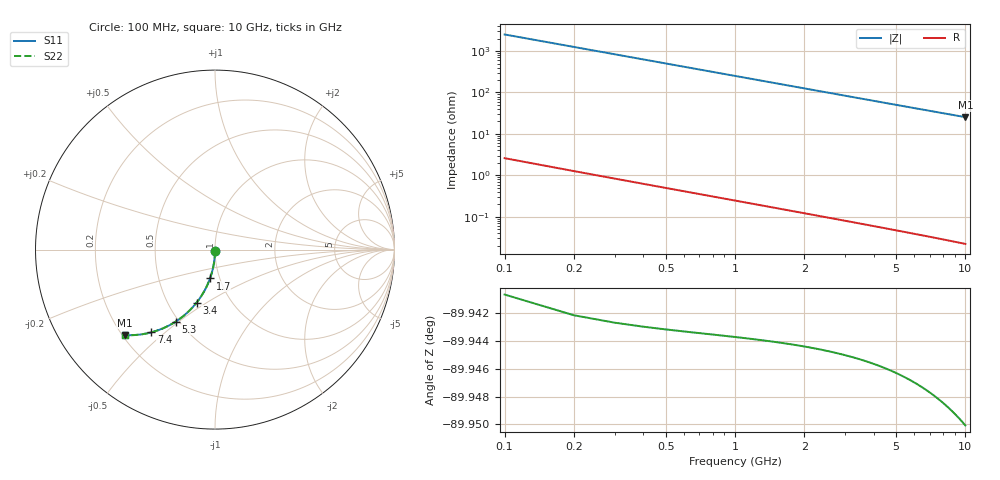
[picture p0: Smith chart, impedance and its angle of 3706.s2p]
# Hz S RI R 50.00
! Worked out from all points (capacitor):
!   100 points, 100 MHz to 10 GHz, reference 50 ohm
!   read as one part in shunt: C = 634 fF near 100 MHz
!   lowest |Z| = 25.4 ohm at 10 GHz (marker M1)
!   S11 on the Smith chart (normalised r, x): 100 MHz: 1.00, -0.02; 1.7 GHz: 0.90, -0.30; 3.4 GHz: 0.69, -0.45; 5.3 GHz: 0.48, -0.49; 7.4 GHz: 0.32, -0.45; 10 GHz: 0.21, -0.38
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1e8  1.73e-05 -0.00972  0.9998 -0.0102  0.9998 -0.0102  1.73e-05 -0.00972
2e8  -0.000288 -0.0194  0.9995 -0.0204  0.9995 -0.0204  -0.000288 -0.0194
3e8  -0.000792 -0.0291  0.999 -0.0305  0.999 -0.0305  -0.000792 -0.0291
4e8  -0.00149 -0.0388  0.9982 -0.0407  0.9982 -0.0407  -0.00149 -0.0388
5e8  -0.00239 -0.0485  0.9974 -0.0508  0.9974 -0.0508  -0.00239 -0.0485
6e8  -0.00348 -0.0581  0.9963 -0.0609  0.9963 -0.0609  -0.00348 -0.0581
8e8  -0.00624 -0.0773  0.9935 -0.0809  0.9935 -0.0809  -0.00624 -0.0773
1.1e9  -0.0118 -0.1056  0.9879 -0.1107  0.9879 -0.1107  -0.0118 -0.1056
1.4e9  -0.019 -0.1335  0.9807 -0.1399  0.9807 -0.1399  -0.019 -0.1335
1.7e9  -0.0279 -0.1606  0.9719 -0.1684  0.9719 -0.1684  -0.0279 -0.1606
1.8e9  -0.0311 -0.1695  0.9686 -0.1777  0.9686 -0.1777  -0.0311 -0.1695
2.1e9  -0.0419 -0.1955  0.9578 -0.2051  0.9578 -0.2051  -0.0419 -0.1955
2.5e9  -0.0584 -0.2286  0.9412 -0.2401  0.9412 -0.2401  -0.0584 -0.2286
2.9e9  -0.0771 -0.2599  0.9225 -0.2732  0.9225 -0.2732  -0.0771 -0.2599
3.4e9  -0.1031 -0.296  0.8966 -0.3116  0.8966 -0.3116  -0.1031 -0.296
4.2e9  -0.1493 -0.3465  0.8502 -0.3658  0.8502 -0.3658  -0.1493 -0.3465
5.1e9  -0.2058 -0.3923  0.7936 -0.4157  0.7936 -0.4157  -0.2058 -0.3923
5.3e9  -0.2188 -0.4009  0.7807 -0.4253  0.7807 -0.4253  -0.2188 -0.4009
6.7e9  -0.3098 -0.4466  0.6895 -0.4775  0.6895 -0.4775  -0.3098 -0.4466
7.4e9  -0.3542 -0.4608  0.6449 -0.495  0.6449 -0.495  -0.3542 -0.4608
8.4e9  -0.4147 -0.4728  0.5842 -0.5117  0.5842 -0.5117  -0.4147 -0.4728
1e10  -0.5022 -0.4762  0.4964 -0.5227  0.4964 -0.5227  -0.5022 -0.4762
